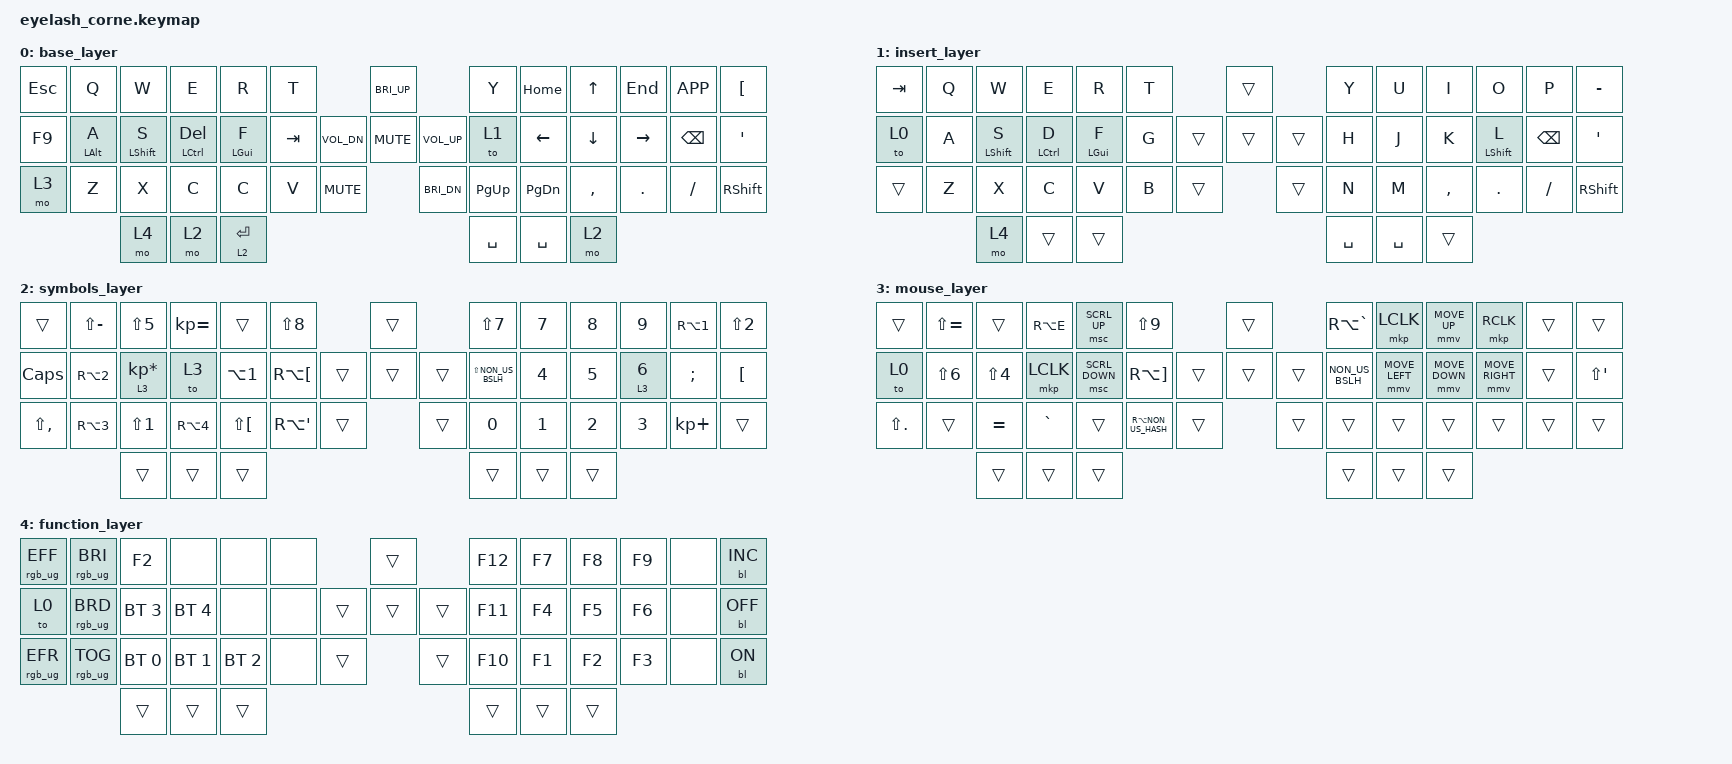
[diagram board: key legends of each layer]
/*
 * Copyright (c) 2020 The ZMK Contributors
 *
 * SPDX-License-Identifier: MIT
 */

#include <behaviors.dtsi>
#include <behaviors/mouse_move.dtsi>
#include <dt-bindings/zmk/keys.h>
#include <dt-bindings/zmk/bt.h>
#include <dt-bindings/zmk/backlight.h>
#include <dt-bindings/zmk/rgb.h>

// Mouse cursor speed: 2x the default (600) for faster movement
#define ZMK_POINTING_DEFAULT_MOVE_VAL 1200
#include <dt-bindings/zmk/pointing.h>

// Reach full cursor speed sooner (default is 300ms)
&mmv {
        time-to-max-speed-ms = <200>;
        acceleration-exponent = <1>;
};

// Longer hold threshold for hold-tap keys (home-row mods &mt, layer-tap &lt).
// Default is 200ms; raise it so the hold state is easier to reach.
&mt {
        flavor = "balanced";
        tapping-term-ms = <200>;
};

&lt {
        tapping-term-ms = <200>;
};

/ {
        keymap {
                compatible = "zmk,keymap";

                base_layer {
// Skyloong BASE adapted: navigation + home-row mods
// -----------------------------------------------------------------------------------------------------------
// | ESC  |  Q  |  W  |  E  |  R  |  T  |         |BRIUP|         |  Y  | HOME|  UP | END | APP | `(d)|
// |  F9  |A/ALT|S/SFT|D/CTL|F/GUI| TAB |  |VOL_DN|MUTE |VOL_UP| |TO(1)| LEFT| DOWN|RIGHT| BSPC| '(d)|
// |MO(3) |  Z  |  X  |  C  |  C  |  V  | MUTE|   |BRIDN|         |PG_UP|PG_DN|  ,  |  .  |  -  | RSFT|
//                    |MO(4)|MO(2)|LT2/ENT|                          | SPC | SPC |MO(2)|
                        bindings = <
   &kp ESC   &kp Q       &kp W       &kp E        &kp R       &kp T                &kp C_BRI_UP             &kp Y     &kp HOME  &kp UP    &kp END   &kp K_APP &kp LBKT
   &kp F9    &mt LALT A  &mt LSHFT S &mt LCTRL DEL &mt LGUI F &kp TAB    &kp C_VOL_DN &kp C_MUTE &kp C_VOL_UP &to 1     &kp LEFT  &kp DOWN  &kp RIGHT &kp BSPC  &kp SQT
   &mo 3     &kp Z       &kp X       &kp C        &kp C       &kp V    &kp C_MUTE  &kp C_BRI_DN             &kp PG_UP &kp PG_DN &kp COMMA &kp DOT   &kp FSLH  &kp RSHFT
                          &mo 4       &mo 2        &lt 2 RET                                                  &kp SPACE &kp SPACE &mo 2
                        >;
                };

                insert_layer {
// Skyloong INSERT adapted: standard QWERTY typing
// -----------------------------------------------------------------------------------------------------------
// | TAB  |  Q  |  W  |  E  |  R  |  T  |         |     |         |  Y  |  U  |  I  |  O  |  P  | '   |
// |TO(0) |  A  |S/SFT|D/CTL|F/GUI|  G  |  |      |     |       | |  H  |  J  |  K  |L/SFT| BSPC| '(d)|
// |      |  Z  |  X  |  C  |  V  |  B  |     |   |     |         |  N  |  M  |  ,  |  .  |  -  | RSFT|
//                    |MO(4)|     | ENT |                          | SPC | SPC |     |
                        bindings = <
   &kp TAB   &kp Q       &kp W       &kp E        &kp R       &kp T                &trans                 &kp Y     &kp U     &kp I     &kp O         &kp P    &kp MINUS
   &to 0     &kp A       &mt LSHFT S &mt LCTRL D  &mt LGUI F  &kp G      &trans    &trans     &trans      &kp H     &kp J     &kp K     &mt LSHFT L   &kp BSPC &kp SQT
   &trans    &kp Z       &kp X       &kp C        &kp V       &kp B      &trans    &trans                 &kp N     &kp M     &kp COMMA &kp DOT       &kp FSLH &kp RSHFT
                          &mo 4       &trans       &trans                                                  &kp SPACE &kp SPACE &trans
                        >;
                };

                symbols_layer {
// Skyloong SYMBOLS adapted: symbols + numpad
// -----------------------------------------------------------------------------------------------------------
// |      |  _  |  %  | KP= |     |  (  |         |     |         |  &  |  7  |  8  |  9  |  |  |  @  |
// | CAPS |  @  |LT3/*|TO(3)|ALT+1|  [  |  |      |     |       | |  >  |  4  |  5  |LT3/6|  n  |  `  |
// |  <   |  #  |  !  |  ~  |  ^  |  {  |     |   |     |         |  0  |  1  |  2  |  3  | KP+ |     |
//                    |     |     |     |                          |     |     |     |
                        bindings = <
   &trans        &kp LS(MINUS) &kp LS(N5)       &kp KP_EQUAL &trans      &kp LS(N8)               &trans                 &kp LS(N7)        &kp N7 &kp N8 &kp N9      &kp RA(N1) &kp LS(N2)
   &kp CAPS      &kp RA(N2)   &lt 3 KP_MULTIPLY &to 3       &kp LA(N1) &kp RA(LBKT)   &trans    &trans     &trans      &kp LS(NON_US_BSLH) &kp N4 &kp N5 &lt 3 N6   &kp SEMI   &kp LBKT
   &kp LS(COMMA) &kp RA(N3)   &kp LS(N1)       &kp RA(N4)  &kp LS(LBKT) &kp RA(SQT)   &trans    &trans                 &kp N0            &kp N1 &kp N2 &kp N3      &kp KP_PLUS &trans
                               &trans            &trans      &trans                                                       &trans             &trans &trans
                        >;
                };

                mouse_layer {
// Skyloong MOUSE adapted: mouse emulation + extra symbols
// -----------------------------------------------------------------------------------------------------------
// |      |  +  |     |AltGrE|ScrU|  )  |         |     |         |  \  |LCLK | MUp |RCLK |     |     |
// |TO(0) |  ^  |  $  |LCLK |ScrD|  ]  |  |      |     |       | |  <  |MLft |MDwn |MRgt |     |  "  |
// |  >   |     |  i  |  `  |     |  }  |     |   |     |         |     |     |     |     |     |     |
//                    |     |     |     |                          |     |     |     |
                        bindings = <
   &trans    &kp LS(EQUAL) &trans      &kp RA(E)   &msc SCRL_UP  &kp LS(N9)                &trans                 &kp RA(GRAVE)   &mkp LCLK      &mmv MOVE_UP   &mkp RCLK      &trans &trans
   &to 0     &kp LS(N6)    &kp LS(N4) &mkp LCLK   &msc SCRL_DOWN &kp RA(RBKT)   &trans    &trans     &trans      &kp NON_US_BSLH &mmv MOVE_LEFT &mmv MOVE_DOWN &mmv MOVE_RIGHT &trans &kp LS(SQT)
   &kp LS(DOT) &trans      &kp EQUAL  &kp GRAVE   &trans        &kp RA(NON_US_HASH) &trans &trans                 &trans          &trans         &trans         &trans          &trans &trans
                            &trans     &trans      &trans                                                           &trans          &trans         &trans
                        >;
                };

                function_layer {
// Function layer: BT profiles, RGB LEDs, display, F-keys
// -----------------------------------------------------------------------------------------------------------
// |R_EFF |R_BRI| F2  |     |      |     |         |     |         | F12 | F7  | F8  | F9  |     |BL_IC|
// |TO(0) |R_OFF|BT 4 |BT 5 |BT_CLR|     |  |      |     |       | | F11 | F4  | F5  | F6  |     |BL_OF|
// |R_EFR |R_ON |BT 1 |BT 2 |BT 3  |     |     |   |     |         | F10 | F1  | F2  | F3  |     |BL_ON|
//                    |     |      |     |                         |     |     |     |
                        bindings = <
   &rgb_ug RGB_EFF &rgb_ug RGB_BRI &kp F2       &none        &none        &none             &trans                &kp F12 &kp F7 &kp F8 &kp F9 &none &bl BL_INC
   &to 0           &rgb_ug RGB_BRD &bt BT_SEL 3 &bt BT_SEL 4 &none        &none    &trans   &trans     &trans     &kp F11 &kp F4 &kp F5 &kp F6 &none &bl BL_OFF
   &rgb_ug RGB_EFR &rgb_ug RGB_TOG &bt BT_SEL 0 &bt BT_SEL 1 &bt BT_SEL 2 &none    &trans   &trans                &kp F10 &kp F1 &kp F2 &kp F3 &none &bl BL_ON
                       &trans       &trans       &trans                                                 &trans  &trans &trans
                        >;
                };
        };
};
